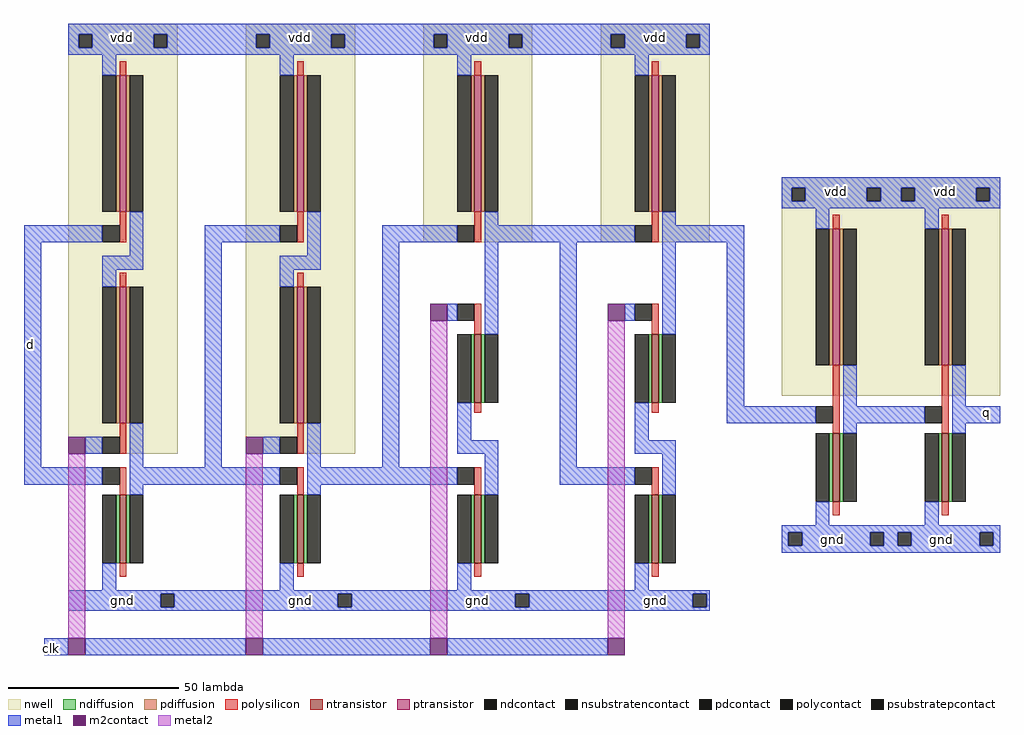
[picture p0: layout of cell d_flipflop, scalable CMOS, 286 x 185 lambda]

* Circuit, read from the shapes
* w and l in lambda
.subckt d_flipflop clk d gnd q vdd
M1 n1 d gnd gnd nfet w=20 l=2
M2 n2 n1 gnd gnd nfet w=20 l=2
M3 n3 n2 gnd gnd nfet w=20 l=2
M4 n4 clk n3 gnd nfet w=20 l=2
M5 n5 n4 gnd gnd nfet w=20 l=2
M6 n6 clk n5 gnd nfet w=20 l=2
M7 n7 n6 gnd gnd nfet w=20 l=2
M8 q n7 gnd gnd nfet w=20 l=2
M9 n1 clk n8 vdd pfet w=40 l=2
M10 n8 d vdd vdd pfet w=40 l=2
M11 n2 clk n9 vdd pfet w=40 l=2
M12 n9 n1 vdd vdd pfet w=40 l=2
M13 n4 n2 vdd vdd pfet w=40 l=2
M14 n6 n4 vdd vdd pfet w=40 l=2
M15 n7 n6 vdd vdd pfet w=40 l=2
M16 q n7 vdd vdd pfet w=40 l=2
.ends

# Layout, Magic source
magic
tech scmos
<< nwell >>
rect 439 69 471 195
rect 491 69 523 195
rect 543 131 575 195
rect 595 131 627 195
rect 648 86 712 150
<< ntransistor >>
rect 558 84 560 104
rect 610 84 612 104
rect 454 37 456 57
rect 506 37 508 57
rect 558 37 560 57
rect 610 37 612 57
rect 663 55 665 75
rect 695 55 697 75
<< ptransistor >>
rect 454 140 456 180
rect 506 140 508 180
rect 558 140 560 180
rect 610 140 612 180
rect 454 78 456 118
rect 506 78 508 118
rect 663 95 665 135
rect 695 95 697 135
<< ndiffusion >>
rect 557 84 558 104
rect 560 84 561 104
rect 609 84 610 104
rect 612 84 613 104
rect 453 37 454 57
rect 456 37 457 57
rect 505 37 506 57
rect 508 37 509 57
rect 557 37 558 57
rect 560 37 561 57
rect 609 37 610 57
rect 612 37 613 57
rect 662 55 663 75
rect 665 55 666 75
rect 694 55 695 75
rect 697 55 698 75
<< pdiffusion >>
rect 453 140 454 180
rect 456 140 457 180
rect 505 140 506 180
rect 508 140 509 180
rect 557 140 558 180
rect 560 140 561 180
rect 609 140 610 180
rect 612 140 613 180
rect 453 78 454 118
rect 456 78 457 118
rect 505 78 506 118
rect 508 78 509 118
rect 662 95 663 135
rect 665 95 666 135
rect 694 95 695 135
rect 697 95 698 135
<< ndcontact >>
rect 553 84 557 104
rect 561 84 565 104
rect 605 84 609 104
rect 613 84 617 104
rect 449 37 453 57
rect 457 37 461 57
rect 501 37 505 57
rect 509 37 513 57
rect 553 37 557 57
rect 561 37 565 57
rect 605 37 609 57
rect 613 37 617 57
rect 658 55 662 75
rect 666 55 670 75
rect 690 55 694 75
rect 698 55 702 75
<< pdcontact >>
rect 449 140 453 180
rect 457 140 461 180
rect 501 140 505 180
rect 509 140 513 180
rect 553 140 557 180
rect 561 140 565 180
rect 605 140 609 180
rect 613 140 617 180
rect 449 78 453 118
rect 457 78 461 118
rect 501 78 505 118
rect 509 78 513 118
rect 658 95 662 135
rect 666 95 670 135
rect 690 95 694 135
rect 698 95 702 135
<< psubstratepcontact >>
rect 650 42 654 46
rect 674 42 678 46
rect 682 42 686 46
rect 706 42 710 46
rect 466 24 470 28
rect 518 24 522 28
rect 570 24 574 28
rect 622 24 626 28
<< nsubstratencontact >>
rect 442 188 446 192
rect 464 188 468 192
rect 494 188 498 192
rect 516 188 520 192
rect 546 188 550 192
rect 568 188 572 192
rect 598 188 602 192
rect 620 188 624 192
rect 651 143 655 147
rect 673 143 677 147
rect 683 143 687 147
rect 705 143 709 147
<< polysilicon >>
rect 454 180 456 184
rect 506 180 508 184
rect 558 180 560 184
rect 610 180 612 184
rect 454 131 456 140
rect 506 131 508 140
rect 558 131 560 140
rect 610 131 612 140
rect 663 135 665 139
rect 695 135 697 139
rect 454 118 456 122
rect 506 118 508 122
rect 558 104 560 113
rect 610 104 612 113
rect 558 81 560 84
rect 610 81 612 84
rect 454 69 456 78
rect 506 69 508 78
rect 663 75 665 95
rect 695 75 697 95
rect 454 57 456 65
rect 506 57 508 65
rect 558 57 560 65
rect 610 57 612 65
rect 663 51 665 55
rect 695 51 697 55
rect 454 33 456 37
rect 506 33 508 37
rect 558 33 560 37
rect 610 33 612 37
<< polycontact >>
rect 449 131 454 136
rect 501 131 506 136
rect 553 131 558 136
rect 605 131 610 136
rect 553 108 558 113
rect 605 108 610 113
rect 658 78 663 83
rect 449 69 454 74
rect 501 69 506 74
rect 690 78 695 83
rect 449 60 454 65
rect 501 60 506 65
rect 553 60 558 65
rect 605 60 610 65
<< metal1 >>
rect 439 192 627 195
rect 439 188 442 192
rect 446 188 464 192
rect 468 188 494 192
rect 498 188 516 192
rect 520 188 546 192
rect 550 188 568 192
rect 572 188 598 192
rect 602 188 620 192
rect 624 188 627 192
rect 439 186 627 188
rect 449 180 453 186
rect 501 180 505 186
rect 553 180 557 186
rect 605 180 609 186
rect 648 147 712 150
rect 648 143 651 147
rect 655 143 673 147
rect 677 143 683 147
rect 687 143 705 147
rect 709 143 712 147
rect 648 141 712 143
rect 426 131 449 136
rect 426 65 431 131
rect 457 127 461 140
rect 449 123 461 127
rect 479 131 501 136
rect 449 118 453 123
rect 444 69 449 74
rect 457 65 461 78
rect 479 65 484 131
rect 509 127 513 140
rect 561 136 565 140
rect 613 136 617 140
rect 501 123 513 127
rect 531 131 553 136
rect 561 131 605 136
rect 613 131 637 136
rect 501 118 505 123
rect 496 69 501 74
rect 509 65 513 78
rect 531 65 536 131
rect 550 108 553 113
rect 561 104 565 131
rect 553 73 557 84
rect 553 69 565 73
rect 426 60 449 65
rect 457 60 501 65
rect 509 60 553 65
rect 457 57 461 60
rect 509 57 513 60
rect 561 57 565 69
rect 583 65 588 131
rect 602 108 605 113
rect 613 104 617 131
rect 605 73 609 84
rect 632 83 637 131
rect 658 135 662 141
rect 690 135 694 141
rect 666 83 670 95
rect 698 83 702 95
rect 632 78 658 83
rect 666 78 690 83
rect 698 78 712 83
rect 666 75 670 78
rect 698 75 702 78
rect 605 69 617 73
rect 583 60 605 65
rect 613 57 617 69
rect 658 48 662 55
rect 690 48 694 55
rect 648 46 712 48
rect 648 42 650 46
rect 654 42 674 46
rect 678 42 682 46
rect 686 42 706 46
rect 710 42 712 46
rect 648 40 712 42
rect 449 29 453 37
rect 501 29 505 37
rect 553 29 557 37
rect 605 29 609 37
rect 439 28 627 29
rect 439 24 466 28
rect 470 24 518 28
rect 522 24 570 28
rect 574 24 622 28
rect 626 24 627 28
rect 439 23 627 24
rect 432 10 439 15
rect 444 10 491 15
rect 496 10 545 15
rect 550 10 597 15
<< m2contact >>
rect 439 69 444 74
rect 491 69 496 74
rect 545 108 550 113
rect 597 108 602 113
rect 439 10 444 15
rect 491 10 496 15
rect 545 10 550 15
rect 597 10 602 15
<< metal2 >>
rect 439 15 444 69
rect 491 15 496 69
rect 545 15 550 108
rect 597 15 602 108
<< labels >>
rlabel metal1 455 191 455 191 5 vdd
rlabel metal1 455 26 455 26 1 gnd
rlabel metal1 507 191 507 191 5 vdd
rlabel metal1 507 26 507 26 1 gnd
rlabel metal1 559 26 559 26 1 gnd
rlabel metal1 559 191 559 191 5 vdd
rlabel metal1 611 26 611 26 1 gnd
rlabel metal1 611 191 611 191 5 vdd
rlabel metal1 428 101 428 101 1 d
rlabel metal1 434 12 434 12 1 clk
rlabel metal1 695 44 695 44 1 gnd
rlabel metal1 696 146 696 146 5 vdd
rlabel metal1 663 44 663 44 1 gnd
rlabel metal1 664 146 664 146 5 vdd
rlabel metal1 708 81 708 81 7 q
<< end >>
